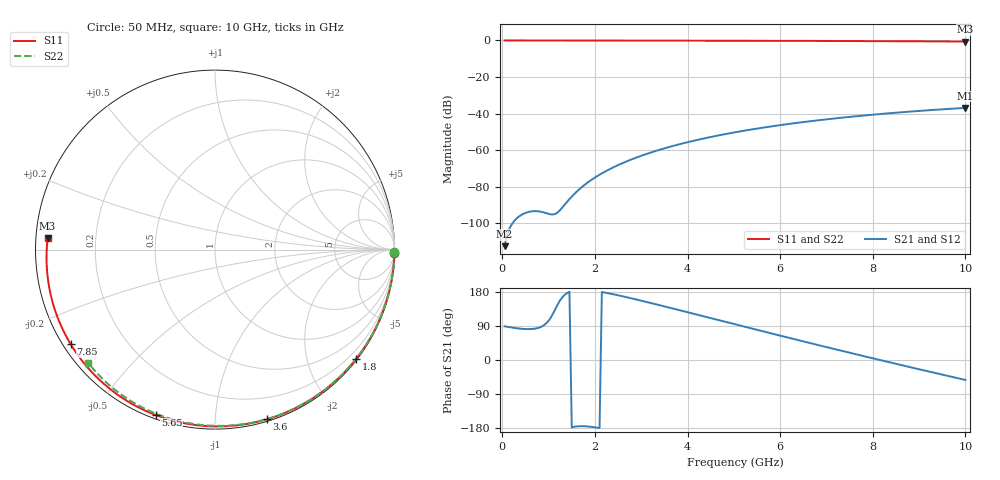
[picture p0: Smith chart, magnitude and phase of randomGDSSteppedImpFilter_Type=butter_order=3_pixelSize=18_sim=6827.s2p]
! freq	dB(S11)	phase(S11)	dB(S12)	phase(S12)
!  dB(S21)	phase(S21)	dB(S22)	phase(S22)
!S-par simulation data
#  GHz  S  DB  R 50
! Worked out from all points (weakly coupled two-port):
!   200 points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, 50 MHz to 10 GHz, reference 50 ohm
!   highest |S21| = -36.88 dB at 10 GHz (marker M1); lowest = -112.5 dB at 50 MHz (marker M2)
!   lowest |S11| = -0.6 dB at 10 GHz (marker M3), VSWR 29.54, Z = 1.69 + j1.66 ohm
!   |S11| at or under -10 dB: nowhere
!   |S22| runs from -0.5 to 0.0 dB; largest |S21 - S12| = 0
!   S11 on the Smith chart (normalised r, x): 50 MHz: open; 1.8 GHz: 0.03, -2.93; 3.6 GHz: 0.02, -1.35; 5.65 GHz: 0.02, -0.70; 7.85 GHz: 0.02, -0.30; 10 GHz: 0.03, +0.03
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0.05  -0.00 -1.1  -112.45 88.9  -112.45 88.9  -0.00 -0.8
0.45  -0.01 -9.6  -94.85 82.0  -94.85 82.0  -0.01 -7.2
0.85  -0.02 -18.0  -93.70 88.2  -93.70 88.2  -0.02 -13.5
1.25  -0.03 -26.4  -92.68 157.8  -92.68 157.8  -0.02 -19.8
1.7  -0.05 -35.7  -80.53 -174.6  -80.53 -174.6  -0.03 -26.8
1.75  -0.05 -36.7  -79.49 -174.7  -79.49 -174.7  -0.04 -27.6
1.8  -0.05 -37.7  -78.49 -175.0  -78.49 -175.0  -0.04 -28.3
2.1  -0.06 -43.8  -73.40 -179.6  -73.40 -179.6  -0.04 -32.9
2.5  -0.07 -51.8  -68.14 170.8  -68.14 170.8  -0.05 -39.0
2.9  -0.08 -59.6  -63.96 159.5  -63.96 159.5  -0.06 -45.0
3.4  -0.09 -69.2  -59.73 144.6  -59.73 144.6  -0.07 -52.4
3.6  -0.10 -73.0  -58.26 138.5  -58.26 138.5  -0.07 -55.3
4.3  -0.12 -85.9  -53.86 116.8  -53.86 116.8  -0.09 -65.4
5.05  -0.15 -99.3  -50.09 93.5  -50.09 93.5  -0.12 -75.8
5.65  -0.18 -109.8  -47.58 75.0  -47.58 75.0  -0.14 -83.9
6.15  -0.21 -118.3  -45.76 59.7  -45.76 59.7  -0.16 -90.5
6.7  -0.25 -127.5  -43.99 43.0  -43.99 43.0  -0.19 -97.6
7.3  -0.29 -137.5  -42.30 25.1  -42.30 25.1  -0.23 -105.2
7.85  -0.34 -146.7  -40.92 8.9  -40.92 8.9  -0.26 -112.1
8.35  -0.39 -155.1  -39.80 -5.7  -39.80 -5.7  -0.30 -118.2
9.2  -0.49 -169.6  -38.16 -30.1  -38.16 -30.1  -0.38 -128.5
10  -0.59 176.2  -36.88 -52.7  -36.88 -52.7  -0.47 -138.2
